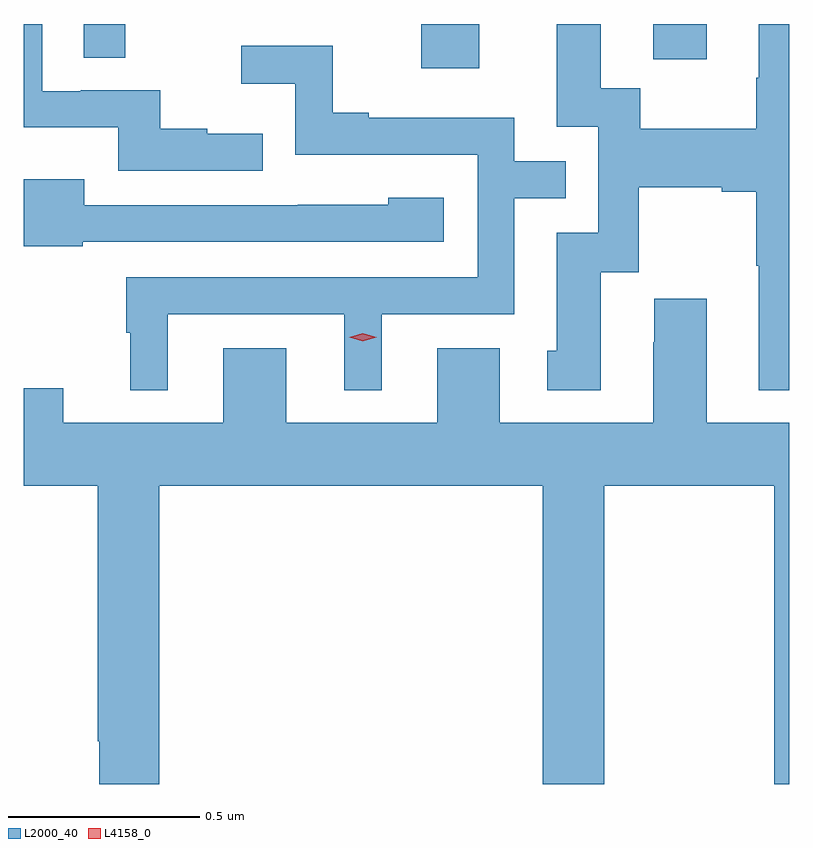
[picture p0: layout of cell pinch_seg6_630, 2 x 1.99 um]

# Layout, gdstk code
import gdstk
lib = gdstk.Library(unit=1e-6, precision=1e-09)
def R(c, l, rs):  # rectangles x0, y0, x1, y1
    for r in rs: c.add(gdstk.rectangle(r[:2], r[2:], *l))
def P(c, l, *ps):  # polygons
    for p in ps: c.add(gdstk.Polygon(p, *l))
L2000_40 = (2000, 40)
L4158_0 = (4158, 0)

pinch_seg6_630 = lib.new_cell('pinch_seg6_630')
R(pinch_seg6_630, L2000_40, [(492.731,995.046,492.883,995.162), (493.337,995.07,493.477,995.162), (491.85,995.074,491.959,995.162)])
P(pinch_seg6_630, L2000_40, [(492.317,994.876),(492.173,994.876),(492.173,994.888),(492.05,994.888),(492.05,994.989),(491.842,994.989),(491.842,994.986),(491.742,994.986),(491.742,995.162),(491.693,995.162),(491.693,994.892),(491.94,994.892),(491.94,994.779),(492.317,994.779)],
  [(493.693,995.162),(493.613,995.162),(493.613,995.022),(493.606,995.022),(493.606,994.888),(493.303,994.888),(493.303,994.994),(493.201,994.994),(493.201,995.162),(493.085,995.162),(493.085,994.893),(493.194,994.893),(493.194,994.617),(493.085,994.617),(493.085,994.308),(493.061,994.308),(493.061,994.206),(493.201,994.206),(493.201,994.514),(493.299,994.514),(493.299,994.736),(493.517,994.736),(493.517,994.724),(493.606,994.724),(493.606,994.531),(493.613,994.531),(493.613,994.205),(493.693,994.205)],
  [(492.07,994.404),(492.53,994.404),(492.53,994.205),(492.628,994.205),(492.628,994.404),(492.975,994.404),(492.975,994.707),(493.109,994.707),(493.109,994.803),(492.975,994.803),(492.975,994.917),(492.595,994.917),(492.595,994.93),(492.501,994.93),(492.501,995.105),(492.261,995.105),(492.261,995.006),(492.402,995.006),(492.402,994.821),(492.879,994.821),(492.879,994.5),(491.961,994.5),(491.961,994.356),(491.972,994.356),(491.972,994.205),(492.07,994.205)],
  [(491.847,994.593),(492.79,994.593),(492.79,994.708),(492.645,994.708),(492.645,994.69),(492.409,994.69),(492.409,994.689),(491.851,994.689),(491.851,994.756),(491.693,994.756),(491.693,994.581),(491.847,994.581)],
  [(492.047,993.956),(493.049,993.956),(493.049,993.177),(493.209,993.177),(493.209,993.956),(493.654,993.956),(493.654,993.177),(493.693,993.177),(493.693,994.12),(493.477,994.12),(493.477,994.444),(493.34,994.444),(493.34,994.331),(493.337,994.331),(493.337,994.12),(492.937,994.12),(492.937,994.315),(492.773,994.315),(492.773,994.12),(492.379,994.12),(492.379,994.315),(492.215,994.315),(492.215,994.12),(491.797,994.12),(491.797,994.211),(491.693,994.211),(491.693,993.956),(491.887,993.956),(491.887,993.289),(491.891,993.289),(491.891,993.177),(492.047,993.177)])
P(pinch_seg6_630, L4158_0, [(492.579,994.334),(492.544,994.344),(492.543,994.344),(492.544,994.344),(492.579,994.354),(492.615,994.344),(492.615,994.344),(492.615,994.344)])

lib.write_gds('pinch_seg6_630.gds')
